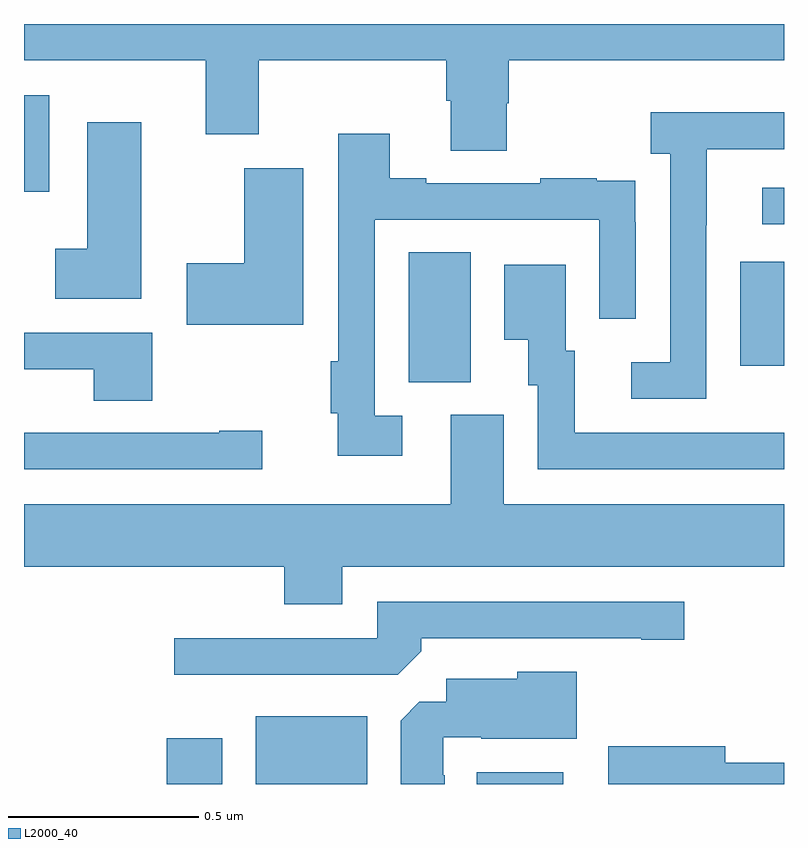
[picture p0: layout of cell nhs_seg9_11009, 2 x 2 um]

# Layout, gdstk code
import gdstk
lib = gdstk.Library(unit=1e-6, precision=1e-09)
def R(c, l, rs):  # rectangles x0, y0, x1, y1
    for r in rs: c.add(gdstk.rectangle(r[:2], r[2:], *l))
def P(c, l, *ps):  # polygons
    for p in ps: c.add(gdstk.Polygon(p, *l))
L2000_40 = (2000, 40)

nhs_seg9_11009 = lib.new_cell('nhs_seg9_11009')
R(nhs_seg9_11009, L2000_40, [(250.376,1210.5,250.522,1210.621), (250.61,1210.5,250.903,1210.678), (251.192,1210.5,251.419,1210.531), (251.012,1211.557,251.176,1211.9), (251.885,1211.601,252,1211.875), (251.943,1211.973,252,1212.069), (250,1212.059,250.066,1212.313)])
P(nhs_seg9_11009, L2000_40, [(251.271,1212.291),(251.276,1212.291),(251.276,1212.404),(252,1212.404),(252,1212.5),(250,1212.5),(250,1212.404),(250.478,1212.404),(250.478,1212.21),(250.618,1212.21),(250.618,1212.404),(251.111,1212.404),(251.111,1212.298),(251.123,1212.298),(251.123,1212.166),(251.271,1212.166)],
  [(251.796,1211.971),(251.797,1211.971),(251.797,1212.171),(252,1212.171),(252,1212.268),(251.649,1212.268),(251.649,1212.158),(251.7,1212.158),(251.7,1211.61),(251.598,1211.61),(251.598,1211.514),(251.796,1211.514)],
  [(250.309,1212.241),(250.166,1212.241),(250.166,1211.908),(250.082,1211.908),(250.082,1211.777),(250.309,1211.777)],
  [(250.996,1211.469),(250.923,1211.469),(250.923,1211.985),(251.514,1211.985),(251.514,1211.724),(251.61,1211.724),(251.61,1211.978),(251.609,1211.978),(251.609,1212.087),(251.507,1212.087),(251.507,1212.094),(251.359,1212.094),(251.359,1212.081),(251.059,1212.081),(251.059,1212.094),(250.963,1212.094),(250.963,1212.211),(250.827,1212.211),(250.827,1211.612),(250.807,1211.612),(250.807,1211.476),(250.826,1211.476),(250.826,1211.364),(250.996,1211.364)],
  [(250.735,1212.121),(250.58,1212.121),(250.58,1211.871),(250.428,1211.871),(250.428,1211.708),(250.735,1211.708)],
  [(252,1211.425),(251.933,1211.425),(251.933,1211.424),(251.449,1211.424),(251.449,1211.64),(251.425,1211.64),(251.425,1211.866),(251.264,1211.866),(251.264,1211.669),(251.327,1211.669),(251.327,1211.55),(251.352,1211.55),(251.352,1211.328),(252,1211.328)],
  [(250.337,1211.688),(250,1211.688),(250,1211.592),(250.184,1211.592),(250.184,1211.509),(250.337,1211.509)],
  [(250.837,1211.072),(252,1211.072),(252,1211.236),(251.263,1211.236),(251.263,1211.472),(251.123,1211.472),(251.123,1211.236),(250,1211.236),(250,1211.072),(250.685,1211.072),(250.685,1210.973),(250.837,1210.973)],
  [(250.627,1211.429),(250.514,1211.429),(250.514,1211.424),(250,1211.424),(250,1211.328),(250.627,1211.328)],
  [(251.045,1210.85),(251.045,1210.884),(251.624,1210.884),(251.624,1210.879),(251.737,1210.879),(251.737,1210.98),(250.929,1210.98),(250.929,1210.884),(250.395,1210.884),(250.395,1210.788),(250.983,1210.788)],
  [(251.107,1210.523),(251.103,1210.523),(251.103,1210.623),(251.203,1210.623),(251.203,1210.619),(251.455,1210.619),(251.455,1210.795),(251.298,1210.795),(251.298,1210.777),(251.111,1210.777),(251.111,1210.716),(251.04,1210.716),(250.991,1210.667),(250.991,1210.5),(251.107,1210.5)],
  [(252,1210.556),(251.845,1210.556),(251.845,1210.6),(251.538,1210.6),(251.538,1210.5),(252,1210.5)])

lib.write_gds('nhs_seg9_11009.gds')
